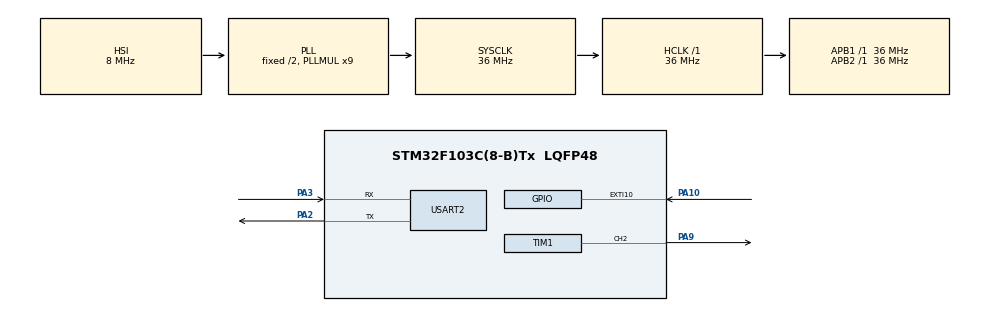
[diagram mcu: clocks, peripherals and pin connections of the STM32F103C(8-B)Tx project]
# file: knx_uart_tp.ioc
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IWDG.Prescaler=IWDG_PRESCALER_32
Mcu.Family=STM32F1
Mcu.Name=STM32F103C(8-B)Tx
Mcu.Package=LQFP48
NVIC.PriorityGroup=NVIC_PRIORITYGROUP_4
NVIC.TIM1_BRK_IRQn=true\:0\:0\:false\:false\:true\:true\:true\:true
NVIC.TIM1_CC_IRQn=true\:0\:0\:false\:false\:true\:true\:true\:true
NVIC.TIM1_UP_IRQn=true\:0\:0\:false\:false\:true\:true\:true\:true
PA10.Signal=GPXTI10
PA13.Mode=Serial_Wire
PA13.Signal=SYS_JTMS-SWDIO
PA14.Mode=Serial_Wire
PA14.Signal=SYS_JTCK-SWCLK
PA2.Mode=Asynchronous
PA2.Signal=USART2_TX
PA3.Mode=Asynchronous
PA3.Signal=USART2_RX
PA9.Signal=S_TIM1_CH2
ProjectManager.HeapSize=0x200
ProjectManager.StackSize=0x400
ProjectManager.TargetToolchain=STM32CubeIDE
RCC.AHBFreq_Value=36000000
RCC.APB1Freq_Value=36000000
RCC.APB1TimFreq_Value=36000000
RCC.APB2Freq_Value=36000000
RCC.APB2TimFreq_Value=36000000
RCC.HCLKFreq_Value=36000000
RCC.PLLMUL=RCC_PLL_MUL9
RCC.SYSCLKFreq_VALUE=36000000
RCC.SYSCLKSource=RCC_SYSCLKSOURCE_PLLCLK
RCC.USBFreq_Value=36000000
SH.S_TIM1_CH2.0=TIM1_CH2,PWM Generation2 CH2
TIM1.Channel-PWM\ Generation2\ CH2=TIM_CHANNEL_2
TIM1.OCMode_PWM-PWM\ Generation2\ CH2=TIM_OCMODE_PWM2
TIM1.OCPolarity_2=TIM_OCPOLARITY_LOW
TIM1.Period=103
TIM1.Prescaler=35
TIM2.Period=104
TIM2.Prescaler=35
USART2.VirtualMode=VM_ASYNC
VP_IWDG_VS_IWDG.Mode=IWDG_Activate
VP_TIM1_VS_ClockSourceINT.Mode=Internal
VP_TIM2_VS_ClockSourceINT.Mode=Internal
board=custom

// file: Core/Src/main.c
/* USER CODE BEGIN Header */
/**
  ******************************************************************************
  * @file           : main.c
  * @brief          : Main program body
  ******************************************************************************
  * @attention
  *
  * Copyright (c) 2025 STMicroelectronics.
  * All rights reserved.
  *
  * This software is licensed under terms that can be found in the LICENSE file
  * in the root directory of this software component.
  * If no LICENSE file comes with this software, it is provided AS-IS.
  *
  ******************************************************************************
  */
/* USER CODE END Header */
#include "main.h"

/* USER CODE BEGIN Includes */
#include <stdint.h>
#include <stdio.h>
/* USER CODE END Includes */

/* USER CODE BEGIN PTD */
typedef enum {
    KNX_IDLE = 0,      // Chờ Start bit
    KNX_START = 1,     // Nhận Start bit
    KNX_DATA = 2,      // Nhận Data bits
    KNX_PARITY = 3,    // Nhận Parity bit
    KNX_STOP = 4       // Nhận Stop bit
} knx_state_t;
/* USER CODE END PTD */

/* USER CODE BEGIN PD */
#define BIT_US   	104     // tổng thời gian 1 bit
#define T0_HIGH   	35     // thời gian mức High trong bit 0
#define T0_LOW    	69     // thời gian mức Low trong bit 0
#define T0_TOL    	10   // dung sai

/* USER CODE END PD */

IWDG_HandleTypeDef hiwdg;

TIM_HandleTypeDef htim1;
TIM_HandleTypeDef htim2;

UART_HandleTypeDef huart2;

/* USER CODE BEGIN PV */

uint16_t dma_buf[256];  // buffer cho DMA (high/low durations)
int dma_len = 0;

volatile uint32_t last_capture = 0;
volatile uint8_t  half_seen = 0;
volatile uint8_t  rx_bitcount = 0;
volatile uint8_t  rx_byte = 0;
volatile uint8_t  rx_frame[32];
volatile uint8_t  rx_index = 0;
volatile uint8_t  frame_ready = 0;
volatile uint8_t  waiting_for_bit = 0;  // đang chờ nhận bit
volatile uint32_t last_bit_time = 0;    // thời gian bit cuối
volatile uint8_t  frame_timeout = 0;    // timeout frame
volatile knx_state_t knx_state = KNX_IDLE;  // trạng thái KNX hiện tại
volatile uint8_t  data_bits = 0;        // số bit dữ liệu đã nhận
volatile uint8_t  parity_bit = 0;       // bit parity
volatile uint8_t  parity_count = 0;     // đếm số bit 1 trong data
volatile uint32_t rx_last_edge = 0;
volatile uint8_t rx_half_seen = 0;
/**
 *  ARR = 104 (chu kỳ 104 µs).
 *  CCR = 0 → PWM duty = 0% → Low suốt 104 µs (bit 1).
 *  CCR = 35 → PWM duty = 35/104 ≈ 33% → High 35 µs, rồi Low 69 µs (bit 0).
 */

void encode_bit(uint8_t bit)
{
    if (dma_len >= 256) return;

    if (bit) {
        dma_buf[dma_len++] = 0;
    } else {
        dma_buf[dma_len++] = T0_HIGH;
    }
}

// --- Encode 1 byte với Start/Stop/Parity bit ---
void encode_byte(uint8_t b)
{
    uint8_t parity_count = 0;

    encode_bit(0);

    // Data bits (MSB first)
    for (int i = 7; i >= 0; i--) {
        uint8_t bit = (b >> i) & 0x01;
        encode_bit(bit);
        if (bit) parity_count++;  // đếm bit 1 cho parity
    }

    // Parity bit (even parity)
    encode_bit(parity_count % 2);

    // Stop bit (luôn là 1)
    encode_bit(1);
}

void prepare_frame(uint8_t *data, int len)
{
    dma_len = 0;
    for (int i = 0; i < len; i++) {
        encode_byte(data[i]);
    }
}

void send_knx_frame(uint8_t *data, int len)
{
  prepare_frame(data, len);

    HAL_TIM_PWM_Start_DMA(&htim1, TIM_CHANNEL_2, (uint32_t*)dma_buf, dma_len);
}

void start_knx_decode(void)
{
	rx_bitcount = 0;
    rx_byte = 0;
    rx_index = 0;
    frame_ready = 0;
    half_seen = 0;
    waiting_for_bit = 0;
    last_capture = 0;
    last_bit_time = 0;
    frame_timeout = 0;
    knx_state = KNX_IDLE;
    data_bits = 0;
    parity_bit = 0;
    parity_count = 0;
    rx_half_seen = 0;  // Reset half_seen flag

    HAL_TIM_IC_Start_IT(&htim1, TIM_CHANNEL_3);
}

static void knx_handle_bit(uint8_t bit)
{
	switch (knx_state) {
		case KNX_IDLE:
			if (bit == 0) {
				knx_state = KNX_START;
			}
			break;
		case KNX_START:
			if (bit == 0) {
				knx_state = KNX_DATA;
				rx_byte = 0;
				data_bits = 0;
				parity_count = 0;
			} else {
				knx_state = KNX_IDLE; // error
			}
			break;
		case KNX_DATA:
			rx_byte = (rx_byte << 1) | bit;
			if (bit) parity_count++;
				data_bits++;
			if (data_bits == 8) {
				knx_state = KNX_PARITY;
			}
			break;
		case KNX_PARITY:
			parity_bit = bit;
			knx_state = KNX_STOP;
			break;
		case KNX_STOP:
			if (bit == 1) {
				if (((parity_count % 2) == parity_bit) && (rx_index < 31)) {  // Giảm từ 32 xuống 31 để tránh overflow
					rx_frame[rx_index++] = rx_byte;
					frame_ready = 1;
				} else {
					// Parity error hoặc buffer full - reset
					rx_index = 0;
				}
			}
			knx_state = KNX_IDLE;
			rx_byte = 0;
			data_bits = 0;
			parity_count = 0;
			break;
	}
}

/* USER CODE END PV */

void SystemClock_Config(void);
static void MX_GPIO_Init(void);
static void MX_IWDG_Init(void);
static void MX_TIM1_Init(void);
static void MX_USART2_UART_Init(void);
static void MX_TIM2_Init(void);

int main(void)
{

  /* MCU Configuration--------------------------------------------------------*/

  /* Reset of all peripherals, Initializes the Flash interface and the Systick. */
  HAL_Init();

  /* Configure the system clock */
  SystemClock_Config();

  /* Initialize all configured peripherals */
  MX_GPIO_Init();
  MX_IWDG_Init();
  MX_TIM1_Init();
  MX_USART2_UART_Init();
  MX_TIM2_Init();
  /* USER CODE BEGIN 2 */
  HAL_IWDG_Refresh(&hiwdg);
  start_knx_decode();

  // Encode và decode có thể chạy song song vì dùng 2 kênh độc lập
  // Channel 2: PWM (encode) - gửi tín hiệu ra bus
  // Channel 3: Input Capture (decode) - nhận tín hiệu từ bus
  /* USER CODE END 2 */

  /* Infinite loop */
  /* USER CODE BEGIN WHILE */
  uint8_t data[] = {0x00, 0xFF, 0x55, 0xAA, 0x00, 0xFF, 0x55, 0xAA};
  uint32_t millis = 0;
  while (1)
  {
    /* USER CODE END WHILE */

    /* USER CODE BEGIN 3 */

    if(HAL_GetTick() - millis > 1000) {
        millis = HAL_GetTick();
        send_knx_frame(data, sizeof(data));
    }
    if (frame_ready) {
        frame_ready = 0;
        HAL_UART_Transmit(&huart2, (uint8_t*)rx_frame, rx_index, 100);
        rx_index = 0;  // Reset index sau khi gửi
    }

    // Xử lý timeout frame
    if (frame_timeout) {
        frame_timeout = 0;
        start_knx_decode(); // Reset decoder khi timeout
    }

    HAL_IWDG_Refresh(&hiwdg);
  }
  /* USER CODE END 3 */
}

void SystemClock_Config(void)
{
  RCC_OscInitTypeDef RCC_OscInitStruct = {0};
  RCC_ClkInitTypeDef RCC_ClkInitStruct = {0};

  /** Initializes the RCC Oscillators according to the specified parameters
  * in the RCC_OscInitTypeDef structure.
  */
  RCC_OscInitStruct.OscillatorType = RCC_OSCILLATORTYPE_HSI|RCC_OSCILLATORTYPE_LSI;
  RCC_OscInitStruct.HSIState = RCC_HSI_ON;
  RCC_OscInitStruct.HSICalibrationValue = RCC_HSICALIBRATION_DEFAULT;
  RCC_OscInitStruct.LSIState = RCC_LSI_ON;
  RCC_OscInitStruct.PLL.PLLState = RCC_PLL_ON;
  RCC_OscInitStruct.PLL.PLLSource = RCC_PLLSOURCE_HSI_DIV2;
  RCC_OscInitStruct.PLL.PLLMUL = RCC_PLL_MUL9;
  if (HAL_RCC_OscConfig(&RCC_OscInitStruct) != HAL_OK)
  {
    Error_Handler();
  }

  /** Initializes the CPU, AHB and APB buses clocks
  */
  RCC_ClkInitStruct.ClockType = RCC_CLOCKTYPE_HCLK|RCC_CLOCKTYPE_SYSCLK
                              |RCC_CLOCKTYPE_PCLK1|RCC_CLOCKTYPE_PCLK2;
  RCC_ClkInitStruct.SYSCLKSource = RCC_SYSCLKSOURCE_PLLCLK;
  RCC_ClkInitStruct.AHBCLKDivider = RCC_SYSCLK_DIV1;
  RCC_ClkInitStruct.APB1CLKDivider = RCC_HCLK_DIV1;
  RCC_ClkInitStruct.APB2CLKDivider = RCC_HCLK_DIV1;

  if (HAL_RCC_ClockConfig(&RCC_ClkInitStruct, FLASH_LATENCY_1) != HAL_OK)
  {
    Error_Handler();
  }
}

static void MX_IWDG_Init(void)
{

  hiwdg.Instance = IWDG;
  hiwdg.Init.Prescaler = IWDG_PRESCALER_32;
  hiwdg.Init.Reload = 4095;
  if (HAL_IWDG_Init(&hiwdg) != HAL_OK)
  {
    Error_Handler();
  }

}

static void MX_TIM1_Init(void)
{

  TIM_ClockConfigTypeDef sClockSourceConfig = {0};
  TIM_MasterConfigTypeDef sMasterConfig = {0};
  TIM_OC_InitTypeDef sConfigOC = {0};
  TIM_BreakDeadTimeConfigTypeDef sBreakDeadTimeConfig = {0};

  htim1.Instance = TIM1;
  htim1.Init.Prescaler = 35;
  htim1.Init.CounterMode = TIM_COUNTERMODE_UP;
  htim1.Init.Period = 103;
  htim1.Init.ClockDivision = TIM_CLOCKDIVISION_DIV1;
  htim1.Init.RepetitionCounter = 0;
  htim1.Init.AutoReloadPreload = TIM_AUTORELOAD_PRELOAD_DISABLE;
  if (HAL_TIM_Base_Init(&htim1) != HAL_OK)
  {
    Error_Handler();
  }
  sClockSourceConfig.ClockSource = TIM_CLOCKSOURCE_INTERNAL;
  if (HAL_TIM_ConfigClockSource(&htim1, &sClockSourceConfig) != HAL_OK)
  {
    Error_Handler();
  }
  if (HAL_TIM_PWM_Init(&htim1) != HAL_OK)
  {
    Error_Handler();
  }
  sMasterConfig.MasterOutputTrigger = TIM_TRGO_RESET;
  sMasterConfig.MasterSlaveMode = TIM_MASTERSLAVEMODE_DISABLE;
  if (HAL_TIMEx_MasterConfigSynchronization(&htim1, &sMasterConfig) != HAL_OK)
  {
    Error_Handler();
  }
  sConfigOC.OCMode = TIM_OCMODE_PWM2;
  sConfigOC.Pulse = 0;
  sConfigOC.OCPolarity = TIM_OCPOLARITY_LOW;
  sConfigOC.OCNPolarity = TIM_OCNPOLARITY_HIGH;
  sConfigOC.OCFastMode = TIM_OCFAST_DISABLE;
  sConfigOC.OCIdleState = TIM_OCIDLESTATE_RESET;
  sConfigOC.OCNIdleState = TIM_OCNIDLESTATE_RESET;
  if (HAL_TIM_PWM_ConfigChannel(&htim1, &sConfigOC, TIM_CHANNEL_2) != HAL_OK)
  {
    Error_Handler();
  }
  sBreakDeadTimeConfig.OffStateRunMode = TIM_OSSR_DISABLE;
  sBreakDeadTimeConfig.OffStateIDLEMode = TIM_OSSI_DISABLE;
  sBreakDeadTimeConfig.LockLevel = TIM_LOCKLEVEL_OFF;
  sBreakDeadTimeConfig.DeadTime = 0;
  sBreakDeadTimeConfig.BreakState = TIM_BREAK_DISABLE;
  sBreakDeadTimeConfig.BreakPolarity = TIM_BREAKPOLARITY_HIGH;
  sBreakDeadTimeConfig.AutomaticOutput = TIM_AUTOMATICOUTPUT_DISABLE;
  if (HAL_TIMEx_ConfigBreakDeadTime(&htim1, &sBreakDeadTimeConfig) != HAL_OK)
  {
    Error_Handler();
  }
  /* USER CODE BEGIN TIM1_Init 2 */
  __HAL_TIM_ENABLE_IT(&htim1, TIM_IT_UPDATE);
  /* USER CODE END TIM1_Init 2 */
  HAL_TIM_MspPostInit(&htim1);

}

static void MX_TIM2_Init(void)
{

  TIM_ClockConfigTypeDef sClockSourceConfig = {0};
  TIM_MasterConfigTypeDef sMasterConfig = {0};

  htim2.Instance = TIM2;
  htim2.Init.Prescaler = 35;
  htim2.Init.CounterMode = TIM_COUNTERMODE_UP;
  htim2.Init.Period = 104;
  htim2.Init.ClockDivision = TIM_CLOCKDIVISION_DIV1;
  htim2.Init.AutoReloadPreload = TIM_AUTORELOAD_PRELOAD_DISABLE;
  if (HAL_TIM_Base_Init(&htim2) != HAL_OK)
  {
    Error_Handler();
  }
  sClockSourceConfig.ClockSource = TIM_CLOCKSOURCE_INTERNAL;
  if (HAL_TIM_ConfigClockSource(&htim2, &sClockSourceConfig) != HAL_OK)
  {
    Error_Handler();
  }
  sMasterConfig.MasterOutputTrigger = TIM_TRGO_RESET;
  sMasterConfig.MasterSlaveMode = TIM_MASTERSLAVEMODE_DISABLE;
  if (HAL_TIMEx_MasterConfigSynchronization(&htim2, &sMasterConfig) != HAL_OK)
  {
    Error_Handler();
  }

}

static void MX_USART2_UART_Init(void)
{

  huart2.Instance = USART2;
  huart2.Init.BaudRate = 115200;
  huart2.Init.WordLength = UART_WORDLENGTH_8B;
  huart2.Init.StopBits = UART_STOPBITS_1;
  huart2.Init.Parity = UART_PARITY_NONE;
  huart2.Init.Mode = UART_MODE_TX_RX;
  huart2.Init.HwFlowCtl = UART_HWCONTROL_NONE;
  huart2.Init.OverSampling = UART_OVERSAMPLING_16;
  if (HAL_UART_Init(&huart2) != HAL_OK)
  {
    Error_Handler();
  }

}

static void MX_GPIO_Init(void)
{
  GPIO_InitTypeDef GPIO_InitStruct = {0};

  /* GPIO Ports Clock Enable */
  __HAL_RCC_GPIOA_CLK_ENABLE();

  /*Configure GPIO pin : PA10 */
  GPIO_InitStruct.Pin = GPIO_PIN_10;
  GPIO_InitStruct.Mode = GPIO_MODE_IT_RISING;
  GPIO_InitStruct.Pull = GPIO_NOPULL;
  HAL_GPIO_Init(GPIOA, &GPIO_InitStruct);

}

/* USER CODE BEGIN 4 */
// Callback khi DMA encode hoàn thành
void HAL_TIM_PWM_PulseFinishedCallback(TIM_HandleTypeDef *htim)
{
    if (htim->Instance == TIM1 && htim->Channel == HAL_TIM_ACTIVE_CHANNEL_2) {
        HAL_TIM_PWM_Stop_DMA(&htim1, TIM_CHANNEL_2);

    }
}

void HAL_GPIO_EXTI_Callback(uint16_t GPIO_Pin)
{
    if (GPIO_Pin == GPIO_PIN_10) {
        if (!rx_half_seen) {
            rx_half_seen = 1;
            __HAL_TIM_SET_COUNTER(&htim2, 0);
            __HAL_TIM_CLEAR_FLAG(&htim2, TIM_FLAG_UPDATE);
            HAL_TIM_Base_Start_IT(&htim2); // start timeout
        } else {
            // có cạnh thứ 2 ~35us => bit 0
            knx_handle_bit(0);
            rx_half_seen = 0;
            HAL_TIM_Base_Stop_IT(&htim2);
        }
    }
}

void TIM2_IRQHandler(void)
{
	if(__HAL_TIM_GET_FLAG(&htim2, TIM_FLAG_UPDATE) != RESET) {
		if(__HAL_TIM_GET_IT_SOURCE(&htim2, TIM_IT_UPDATE) != RESET) {
			__HAL_TIM_CLEAR_IT(&htim2, TIM_IT_UPDATE);
			knx_handle_bit(1);
			rx_half_seen = 0;
			HAL_TIM_Base_Stop_IT(&htim2);
		}
	}
}

/* USER CODE END 4 */

void Error_Handler(void)
{
  __disable_irq();
  while (1)
  {
  }
}
